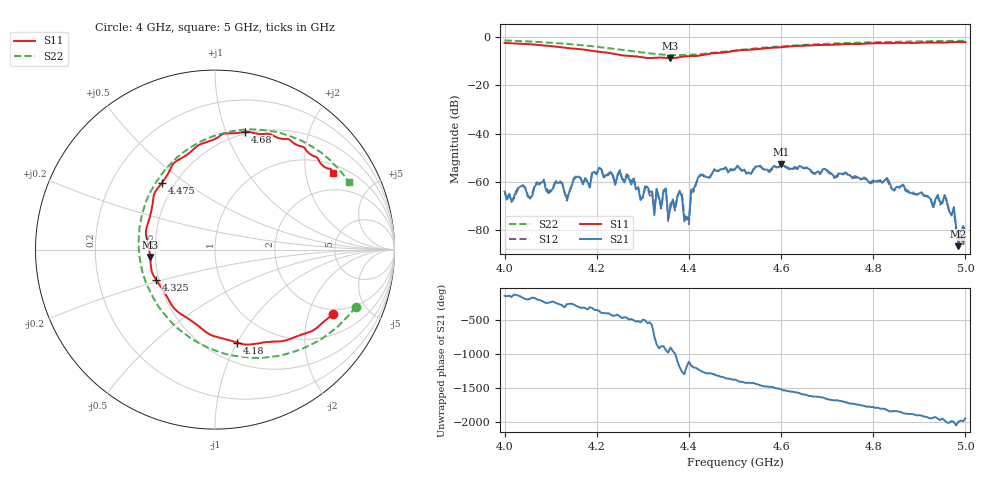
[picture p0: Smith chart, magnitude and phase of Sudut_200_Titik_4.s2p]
# Hz S RI R 50
! CMT, C1220, 16058040, 17.2.0/1
! Date: 15/08/2018 12:30:37
! Data: Format (Calibration Info)
! Freq  S11: Re/Im (F2)  S21: Re/Im (F2)  S12: Re/Im (F2)  S22: Re/Im (F2)
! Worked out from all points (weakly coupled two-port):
!   201 points, 4 GHz to 5 GHz, reference 50 ohm
!   highest |S21| = -52.71 dB at 4.6 GHz (marker M1); lowest = -86.6 dB at 4.985 GHz (marker M2)
!   lowest |S11| = -8.8 dB at 4.36 GHz (marker M3), VSWR 2.14, Z = 23.4 - j2.26 ohm
!   |S11| at or under -10 dB: nowhere
!   |S22| runs from -7.5 to -1.5 dB; largest |S21 - S12| = 0.00015
!   S11 on the Smith chart (normalised r, x): 4 GHz: 1.77, -2.93; 4.18 GHz: 0.69, -1.00; 4.325 GHz: 0.48, -0.19; 4.475 GHz: 0.43, +0.41; 4.68 GHz: 0.48, +1.17; 5 GHz: 1.29, +2.84
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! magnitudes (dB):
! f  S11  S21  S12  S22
! 4 GHz  -2.5  -64.1  -63.8  -1.5
! 4.17 GHz  -5.2  -61.0  -60.9  -3.5
! 4.18 GHz  -5.5  -60.0  -60.2  -3.6
! 4.25 GHz  -7.5  -55.5  -55.2  -5.2
! 4.32 GHz  -8.7  -64.3  -63.9  -6.9
! 4.325 GHz  -8.6  -73.8  -71.1  -7.0
! 4.335 GHz  -8.6  -66.6  -67.3  -7.2
! 4.355 GHz  -8.8  -74.4  -76.6  -7.4
! 4.36 GHz  -8.8  -70.9  -69.0  -7.4
! 4.38 GHz  -8.4  -63.9  -63.7  -7.5
! 4.4 GHz  -8.0  -75.9  -77.6  -7.4
! 4.405 GHz  -7.9  -63.2  -64.2  -7.4
! 4.42 GHz  -7.8  -58.1  -58.4  -7.1
! 4.475 GHz  -6.5  -54.8  -54.7  -6.1
! 4.5 GHz  -5.8  -54.9  -54.8  -5.6
! 4.6 GHz  -4.3  -52.7  -53.1  -3.9
! 4.67 GHz  -3.5  -56.4  -56.6  -3.1
! 4.68 GHz  -3.4  -55.6  -56.1  -3.0
! 4.835 GHz  -2.6  -60.2  -61.2  -2.0
! 4.955 GHz  -2.3  -65.5  -65.6  -1.7
! 4.985 GHz  -2.1  -86.6  -83.2  -1.6
! 5 GHz  -2.1  -80.5  -80.6  -1.6
